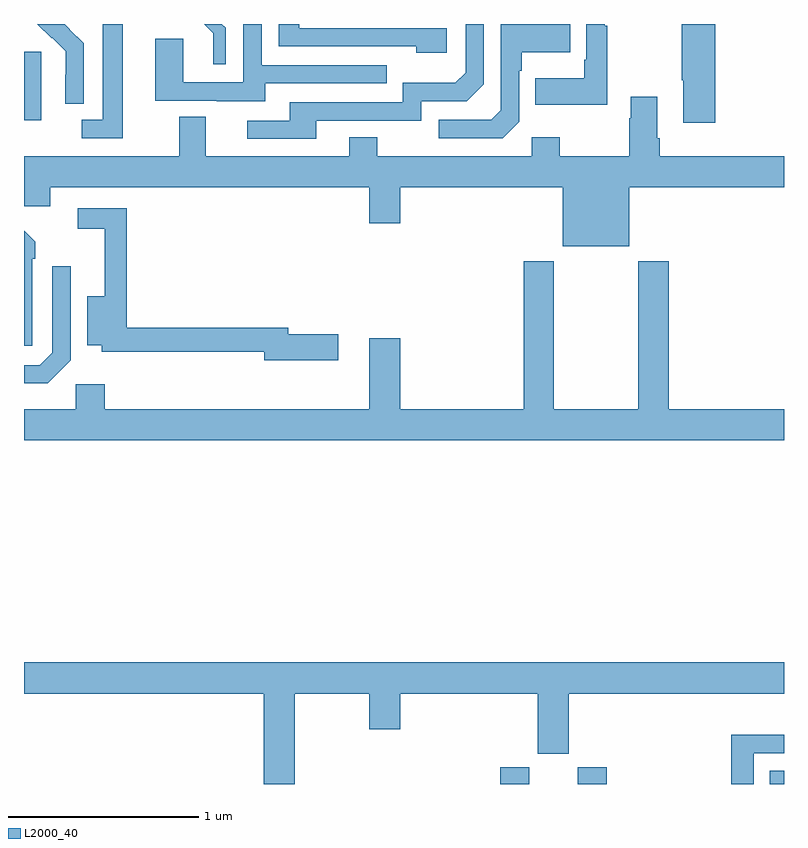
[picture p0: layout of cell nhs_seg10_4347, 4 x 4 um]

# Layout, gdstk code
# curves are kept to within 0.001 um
import gdstk
lib = gdstk.Library(unit=1e-6, precision=1e-09)
def R(c, l, rs):  # rectangles x0, y0, x1, y1
    for r in rs: c.add(gdstk.rectangle(r[:2], r[2:], *l))
def P(c, l, *ps):  # polygons
    for p in ps: c.add(gdstk.Polygon(p, *l))
L2000_40 = (2000, 40)

nhs_seg10_4347 = lib.new_cell('nhs_seg10_4347')
R(nhs_seg10_4347, L2000_40, [(357.506,1306.5,357.658,1306.587), (357.914,1306.5,358.067,1306.587), (358.925,1306.5,359,1306.57), (355,1309.994,355.09,1310.355)])
P(nhs_seg10_4347, L2000_40, [(357.606,1309.986),(357.606,1310.255),(357.619,1310.255),(357.619,1310.351),(357.875,1310.351),(357.875,1310.499),(357.51,1310.5),(357.51,1310.046),(357.459,1309.995),(357.183,1309.995),(357.183,1309.899),(357.519,1309.899)],
  [(357.226,1310.478),(356.449,1310.478),(356.449,1310.5),(356.34,1310.5),(356.34,1310.382),(357.065,1310.382),(357.065,1310.348),(357.226,1310.348)],
  [(355.314,1310.398),(355.241,1310.471),(355.242,1310.472),(355.214,1310.5),(355.07,1310.5),(355.146,1310.424),(355.149,1310.427),(355.22,1310.357),(355.22,1310.234),(355.218,1310.234),(355.218,1310.08),(355.314,1310.08)],
  [(358.069,1310.491),(358.057,1310.491),(358.057,1310.5),(357.96,1310.5),(357.96,1310.311),(357.948,1310.311),(357.948,1310.215),(357.691,1310.215),(357.691,1310.075),(358.069,1310.075)],
  [(358.637,1310.5),(358.462,1310.5),(358.462,1310.203),(358.469,1310.203),(358.469,1309.98),(358.637,1309.98)],
  [(356.061,1310.481),(356.042,1310.5),(355.949,1310.5),(355.997,1310.452),(355.997,1310.289),(356.061,1310.289)],
  [(355.519,1310.5),(355.415,1310.5),(355.415,1309.995),(355.305,1309.995),(355.305,1309.899),(355.519,1309.899)],
  [(356.539,1309.992),(357.09,1309.992),(357.09,1310.094),(357.33,1310.094),(357.42,1310.184),(357.42,1310.5),(357.304,1310.5),(357.304,1310.498),(357.324,1310.498),(357.324,1310.244),(357.271,1310.191),(356.994,1310.191),(356.994,1310.088),(356.399,1310.088),(356.399,1309.992),(356.175,1309.992),(356.175,1309.896),(356.539,1309.896)],
  [(356.269,1310.187),(356.909,1310.187),(356.909,1310.283),(356.25,1310.283),(356.25,1310.5),(356.154,1310.5),(356.154,1310.193),(355.837,1310.193),(355.837,1310.422),(355.691,1310.422),(355.691,1310.097),(356.015,1310.097),(356.015,1310.093),(356.269,1310.093)],
  [(358.186,1309.64),(359,1309.64),(359,1309.804),(358.346,1309.804),(358.346,1309.9),(358.333,1309.9),(358.333,1310.116),(358.193,1310.116),(358.193,1310.003),(358.186,1310.003),(358.186,1309.804),(357.819,1309.804),(357.819,1309.903),(357.672,1309.903),(357.672,1309.804),(356.859,1309.804),(356.859,1309.903),(356.711,1309.903),(356.711,1309.804),(355.957,1309.804),(355.957,1310.012),(355.817,1310.012),(355.817,1309.804),(355,1309.804),(355,1309.542),(355.138,1309.542),(355.138,1309.64),(356.816,1309.64),(356.816,1309.452),(356.98,1309.452),(356.98,1309.64),(357.836,1309.64),(357.836,1309.331),(358.186,1309.331)],
  [(356.653,1308.866),(356.392,1308.866),(356.392,1308.902),(355.541,1308.902),(355.541,1309.53),(355.284,1309.53),(355.284,1309.422),(355.424,1309.422),(355.424,1309.066),(355.334,1309.066),(355.334,1308.809),(355.41,1308.809),(355.41,1308.774),(356.264,1308.774),(356.264,1308.731),(356.653,1308.731)],
  [(355.044,1309.265),(355.059,1309.265),(355.059,1309.353),(355,1309.412),(355,1308.807),(355.044,1308.807)],
  [(359,1308.472),(358.394,1308.472),(358.394,1309.252),(358.234,1309.252),(358.234,1308.472),(357.789,1308.472),(357.789,1309.252),(357.629,1309.252),(357.629,1308.472),(356.98,1308.472),(356.98,1308.847),(356.816,1308.847),(356.816,1308.472),(355.424,1308.472),(355.424,1308.604),(355.272,1308.604),(355.272,1308.472),(355,1308.472),(355,1308.308),(359,1308.308)],
  [(355.245,1308.729),(355.245,1309.225),(355.149,1309.225),(355.149,1308.771),(355.083,1308.705),(355,1308.705),(355,1308.608),(355.124,1308.608)],
  [(356.425,1306.976),(356.816,1306.976),(356.816,1306.788),(356.98,1306.788),(356.98,1306.976),(357.704,1306.976),(357.704,1306.659),(357.868,1306.659),(357.868,1306.976),(359,1306.976),(359,1307.14),(355,1307.14),(355,1306.976),(356.261,1306.976),(356.261,1306.5),(356.425,1306.5)],
  [(358.84,1306.662),(359,1306.662),(359,1306.758),(358.962,1306.758),(358.962,1306.76),(358.722,1306.76),(358.722,1306.5),(358.84,1306.5)])

lib.write_gds('nhs_seg10_4347.gds')
